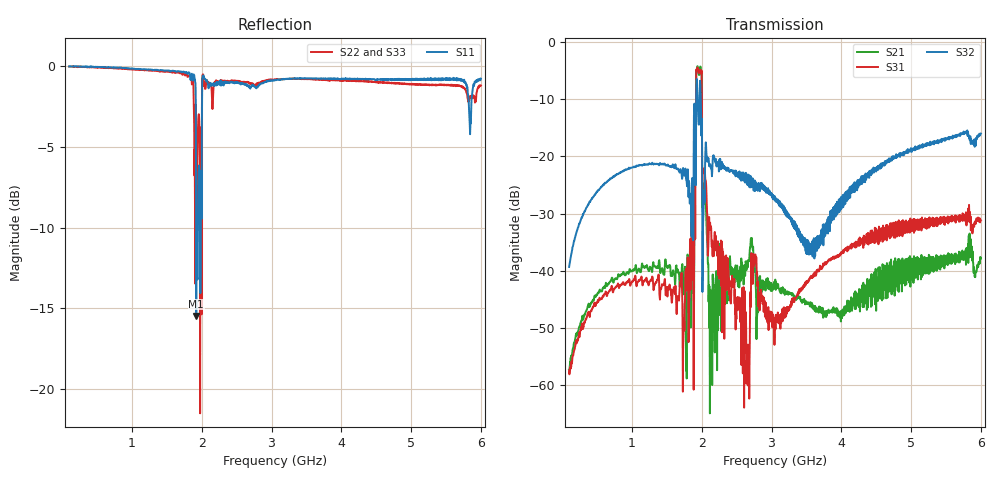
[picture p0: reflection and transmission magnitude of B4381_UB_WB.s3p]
! Matrix data file written by TouchstoneData, EPCOS AG
! FILENAME: "newformat_LY67A_Filter1_1_WB.s3p"
! COMMENT: "(LY67A_Filter1_1_WB.s3p) Epcos AG 17.01.2012"
! INFO: nport=3, nfreq=1601
! DATE: "Wed Feb  8 11:20:11 2012"
! USER: "Michael Schemies"
! port | pin | signal
!  1  |  1  |  in
!  2  |  8  |  out
!  3  |  9  |  out
# MHZ S MA R 50
! freq  magS11 angS11  magS12 angS12  magS13 angS13  ...
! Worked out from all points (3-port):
!   1601 points, 100 MHz to 6 GHz, reference 50 ohm
!   strongest paths, dB at 100 MHz, 1.575 GHz, 3.05 GHz, 4.525 GHz, 6 GHz:
!     S32: -39.3, -21.8, -27.5, -22.0, -16.0
!     S31: -57.4, -45.2, -48.2, -32.9, -31.2
!     S21: -57.2, -40.8, -42.9, -45.3, -37.7
!   lowest |S11| = -15.5 dB at 1.922 GHz (marker M1), VSWR 1.41, Z = 35.9 + j3.61 ohm
!   |S11| at or under -10 dB: 1.919 GHz to 1.946 GHz (26.06 MHz wide, 1.35 % of centre); 1.975 GHz to 1.987 GHz (12.33 MHz wide, 0.623 % of centre)
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100  0.9985 -6.3  0.001383 79.8  0.001346 77.7
     0.001381 80.1  0.9973 -5.3  0.01081 81.1
     0.001346 77.7  0.01082 81.1  0.997 -4.9
1752  0.9591 -97.4  0.007659 14.5  0.003028 53.2
      0.007662 14.7  0.9459 -83.7  0.06775 14.4
      0.003013 53.3  0.06767 14.3  0.9423 -84.9
1862.625  0.9339 -119.8  0.006425 -64.2  0.01836 -27.3
          0.006435 -64.2  0.8884 -102.9  0.06465 46.0
          0.0183 -27.4  0.06453 46.0  0.8865 -105.7
1921.625  0.1686 163.2  0.502 -169.8  0.5696 3.9
          0.502 -169.9  0.3501 126.2  0.3532 106.0
          0.5694 3.9  0.3527 106.0  0.2566 101.4
1973.25  0.3583 -140.0  0.5499 -23.0  0.5656 147.0
         0.5506 -22.9  0.3723 -138.6  0.3905 139.1
         0.5651 147.1  0.39 139.1  0.3082 -149.7
2128.125  0.8879 -77.6  0.006628 -149.9  0.02467 21.7
          0.006651 -149.9  0.878 -76.2  0.08394 22.0
          0.02466 21.9  0.08389 21.9  0.8704 -77.7
2655.438  0.8725 -101.4  0.01162 25.2  0.00153 26.7
          0.01164 25.4  0.8947 -92.9  0.05641 3.0
          0.001526 27.1  0.05631 3.0  0.8914 -94.9
2755  0.8661 -103.3  0.01275 -29.2  0.01183 81.3
      0.01274 -29.2  0.8738 -95.2  0.05159 12.1
      0.01184 81.2  0.05152 12.2  0.8689 -97.6
3050  0.9046 -109.1  0.007199 6.8  0.003922 84.5
      0.007185 6.8  0.9085 -100.9  0.04244 7.2
      0.003911 84.4  0.04238 7.2  0.9082 -104.2
6000  0.9149 -173.7  0.01302 65.9  0.02769 84.3
      0.01301 66.0  0.8716 -162.5  0.1578 97.0
      0.02765 84.4  0.1582 96.9  0.8752 -164.3
